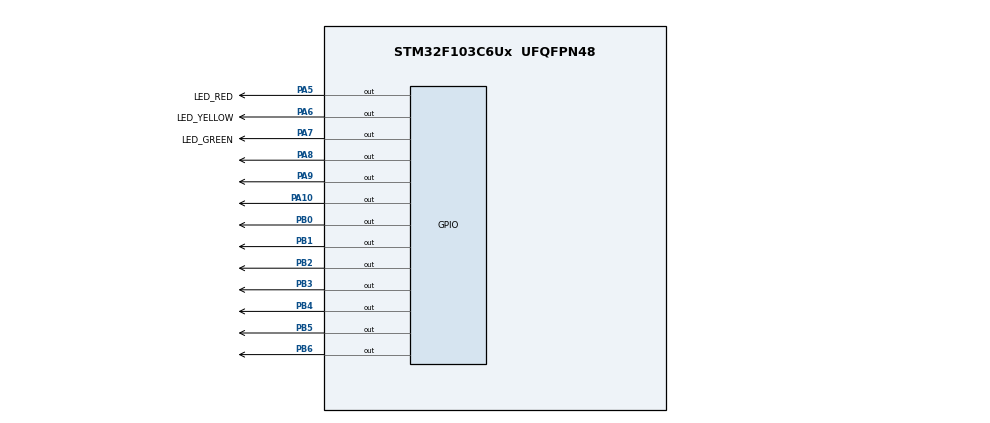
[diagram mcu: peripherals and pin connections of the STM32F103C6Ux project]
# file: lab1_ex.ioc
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Mcu.Family=STM32F1
Mcu.Name=STM32F103C6Ux
Mcu.Package=UFQFPN48
NVIC.PriorityGroup=NVIC_PRIORITYGROUP_4
PA10.Signal=GPIO_Output
PA5.GPIO_Label=LED_RED
PA5.Signal=GPIO_Output
PA6.GPIO_Label=LED_YELLOW
PA6.Signal=GPIO_Output
PA7.GPIO_Label=LED_GREEN
PA7.Signal=GPIO_Output
PA8.Signal=GPIO_Output
PA9.Signal=GPIO_Output
PB0.Signal=GPIO_Output
PB1.Signal=GPIO_Output
PB2.Signal=GPIO_Output
PB3.Signal=GPIO_Output
PB4.Signal=GPIO_Output
PB5.Signal=GPIO_Output
PB6.Signal=GPIO_Output
ProjectManager.HeapSize=0x200
ProjectManager.StackSize=0x400
ProjectManager.TargetToolchain=STM32CubeIDE
RCC.APB1Freq_Value=8000000
RCC.APB2Freq_Value=8000000
VP_SYS_VS_ND.Mode=No_Debug
board=custom

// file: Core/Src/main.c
/* USER CODE BEGIN Header */
/* USER CODE END Header */
#include "main.h"

void SystemClock_Config(void);
static void MX_GPIO_Init(void);

void display7SEG(int num) {
    char segments[10] = {
        0b11000000,  // 0: a,b,c,d,e,f sáng
        0b11111001,  // 1: b,c sáng
        0b10100100,  // 2: a,b,d,e,g sáng
        0b10110000,  // 3: a,b,c,d,g sáng
        0b10011001,  // 4: b,c,f,g sáng
        0b10010010,  // 5: a,c,d,f,g sáng
        0b10000010,  // 6: a,c,d,e,f,g sáng
        0b11111000,  // 7: a,b,c sáng
        0b10000000,  // 8: a,b,c,d,e,f,g sáng
        0b10010000   // 9: a,b,c,d,f,g sáng
    };

    if (num >= 0 && num <= 9) {
        char code = segments[num];
        HAL_GPIO_WritePin(GPIOB, GPIO_PIN_0, (code >> 0) & 0x01); //a
        HAL_GPIO_WritePin(GPIOB, GPIO_PIN_1, (code >> 1) & 0x01); // b
        HAL_GPIO_WritePin(GPIOB, GPIO_PIN_2, (code >> 2) & 0x01); // c
        HAL_GPIO_WritePin(GPIOB, GPIO_PIN_3, (code >> 3) & 0x01); //d
        HAL_GPIO_WritePin(GPIOB, GPIO_PIN_4, (code >> 4) & 0x01); //e
        HAL_GPIO_WritePin(GPIOB, GPIO_PIN_5, (code >> 5) & 0x01); //f
        HAL_GPIO_WritePin(GPIOB, GPIO_PIN_6, (code >> 6) & 0x01); //g
    }
}
int main(void)
{

  /* MCU Configuration--------------------------------------------------------*/

  /* Reset of all peripherals, Initializes the Flash interface and the Systick. */
  HAL_Init();

  /* Configure the system clock */
  SystemClock_Config();

  /* Initialize all configured peripherals */
  MX_GPIO_Init();

  /* Infinite loop */
  /* USER CODE BEGIN WHILE */

      while (1) {

      	HAL_GPIO_WritePin(GPIOA, GPIO_PIN_5, GPIO_PIN_RESET);
      	HAL_GPIO_WritePin(GPIOA, GPIO_PIN_6, GPIO_PIN_SET);
      	HAL_GPIO_WritePin(GPIOA, GPIO_PIN_7, GPIO_PIN_SET);

      	HAL_GPIO_WritePin(GPIOA, GPIO_PIN_8, GPIO_PIN_SET);
      	HAL_GPIO_WritePin(GPIOA, GPIO_PIN_9, GPIO_PIN_SET);
      	HAL_GPIO_WritePin(GPIOA, GPIO_PIN_10, GPIO_PIN_RESET);

      	int counter = 3;
      	while(counter > 0) {
      		display7SEG(counter--);
      		HAL_Delay(1000);
      	}

      	HAL_GPIO_WritePin(GPIOA, GPIO_PIN_10, GPIO_PIN_SET);
      	HAL_GPIO_WritePin(GPIOA, GPIO_PIN_9, GPIO_PIN_RESET);

      	counter = 2;
      	while(counter > 0) {
      		display7SEG(counter--);
      		HAL_Delay(1000);
      	}

      	HAL_GPIO_WritePin(GPIOA, GPIO_PIN_5, GPIO_PIN_SET);
      	HAL_GPIO_WritePin(GPIOA, GPIO_PIN_7, GPIO_PIN_RESET);

      	HAL_GPIO_WritePin(GPIOA, GPIO_PIN_9, GPIO_PIN_SET);
      	HAL_GPIO_WritePin(GPIOA, GPIO_PIN_8, GPIO_PIN_RESET);

      	counter = 3;
      	while(counter > 0) {
      		display7SEG(counter--);
      		HAL_Delay(1000);
      	}
      	HAL_GPIO_WritePin(GPIOA, GPIO_PIN_7, GPIO_PIN_SET);
      	HAL_GPIO_WritePin(GPIOA, GPIO_PIN_6, GPIO_PIN_RESET);

      	counter = 2;
      	while(counter > 0) {
      		display7SEG(counter--);
      		HAL_Delay(1000);
      	}
      }

    /* USER CODE END WHILE */

}

void SystemClock_Config(void)
{
  RCC_OscInitTypeDef RCC_OscInitStruct = {0};
  RCC_ClkInitTypeDef RCC_ClkInitStruct = {0};

  /** Initializes the RCC Oscillators according to the specified parameters
  * in the RCC_OscInitTypeDef structure.
  */
  RCC_OscInitStruct.OscillatorType = RCC_OSCILLATORTYPE_HSI;
  RCC_OscInitStruct.HSIState = RCC_HSI_ON;
  RCC_OscInitStruct.HSICalibrationValue = RCC_HSICALIBRATION_DEFAULT;
  RCC_OscInitStruct.PLL.PLLState = RCC_PLL_NONE;
  if (HAL_RCC_OscConfig(&RCC_OscInitStruct) != HAL_OK)
  {
    Error_Handler();
  }
  /** Initializes the CPU, AHB and APB buses clocks
  */
  RCC_ClkInitStruct.ClockType = RCC_CLOCKTYPE_HCLK|RCC_CLOCKTYPE_SYSCLK
                              |RCC_CLOCKTYPE_PCLK1|RCC_CLOCKTYPE_PCLK2;
  RCC_ClkInitStruct.SYSCLKSource = RCC_SYSCLKSOURCE_HSI;
  RCC_ClkInitStruct.AHBCLKDivider = RCC_SYSCLK_DIV1;
  RCC_ClkInitStruct.APB1CLKDivider = RCC_HCLK_DIV1;
  RCC_ClkInitStruct.APB2CLKDivider = RCC_HCLK_DIV1;

  if (HAL_RCC_ClockConfig(&RCC_ClkInitStruct, FLASH_LATENCY_0) != HAL_OK)
  {
    Error_Handler();
  }
}

static void MX_GPIO_Init(void)
{
  GPIO_InitTypeDef GPIO_InitStruct = {0};

  /* GPIO Ports Clock Enable */
  __HAL_RCC_GPIOA_CLK_ENABLE();
  __HAL_RCC_GPIOB_CLK_ENABLE();

  /*Configure GPIO pin Output Level */
  HAL_GPIO_WritePin(GPIOA, LED_RED_Pin|LED_YELLOW_Pin|LED_GREEN_Pin|GPIO_PIN_8
                          |GPIO_PIN_9|GPIO_PIN_10, GPIO_PIN_RESET);

  /*Configure GPIO pin Output Level */
  HAL_GPIO_WritePin(GPIOB, GPIO_PIN_0|GPIO_PIN_1|GPIO_PIN_2|GPIO_PIN_3
                          |GPIO_PIN_4|GPIO_PIN_5|GPIO_PIN_6, GPIO_PIN_RESET);

  /*Configure GPIO pins : LED_RED_Pin LED_YELLOW_Pin LED_GREEN_Pin PA8
                           PA9 PA10 */
  GPIO_InitStruct.Pin = LED_RED_Pin|LED_YELLOW_Pin|LED_GREEN_Pin|GPIO_PIN_8
                          |GPIO_PIN_9|GPIO_PIN_10;
  GPIO_InitStruct.Mode = GPIO_MODE_OUTPUT_PP;
  GPIO_InitStruct.Pull = GPIO_NOPULL;
  GPIO_InitStruct.Speed = GPIO_SPEED_FREQ_LOW;
  HAL_GPIO_Init(GPIOA, &GPIO_InitStruct);

  /*Configure GPIO pins : PB0 PB1 PB2 PB3
                           PB4 PB5 PB6 */
  GPIO_InitStruct.Pin = GPIO_PIN_0|GPIO_PIN_1|GPIO_PIN_2|GPIO_PIN_3
                          |GPIO_PIN_4|GPIO_PIN_5|GPIO_PIN_6;
  GPIO_InitStruct.Mode = GPIO_MODE_OUTPUT_PP;
  GPIO_InitStruct.Pull = GPIO_NOPULL;
  GPIO_InitStruct.Speed = GPIO_SPEED_FREQ_LOW;
  HAL_GPIO_Init(GPIOB, &GPIO_InitStruct);

}

void Error_Handler(void)
{
}

/************************ (C) COPYRIGHT STMicroelectronics *****END OF FILE****/
